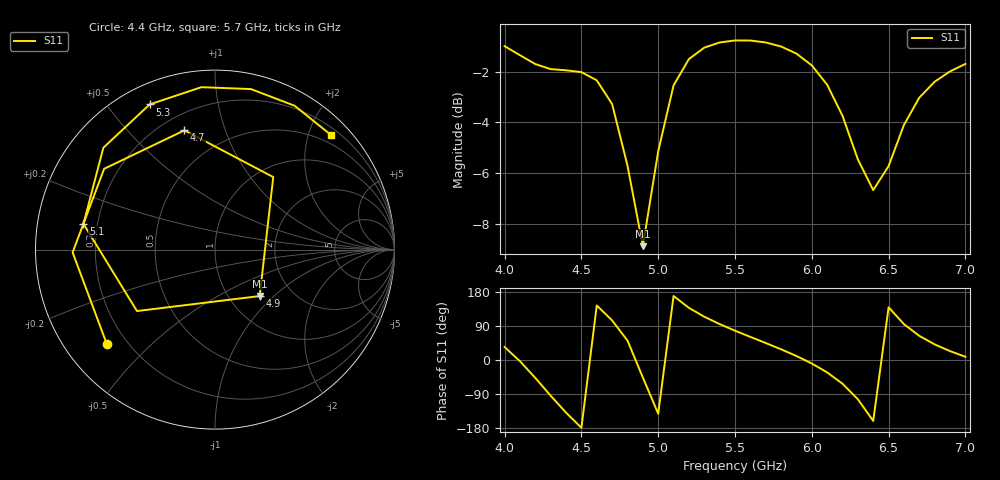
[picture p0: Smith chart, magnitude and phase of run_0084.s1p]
! Touchstone file exported from HFSS 2024.2.0
!  File:  C:/Users/wsak9/Desktop/Sim Fast/Widenad Patch/WP_AI_V1_sweep.aedt
!  Generated:  06:25:52 PM Oct 13, 2026
!  Design:  A1_model
!  Project:  WP_AI_V1_sweep
!  Setup:  Setup1
!  Solution:  Sweep
! Variables:
!  Air_gap = 3.09mm
!  Curve_Amp1 = 3.15
!  Curve_len1 = 1
!  Curve_pos = 12.085mm
!  Extra = 1.51mm
!  H_sub = 0.79mm
!  L_Patch = 20.17mm
!  L_Patch1 = 13.11mm
!  Sx = 4.5mm
!  Sy = 4.49mm
!  WS = 0.96mm
!  W_Patch = 13.98mm
!  W_Patch1 = 11.6mm
!Data is not renormalized
# GHz S MA
! Terminal data exported
! Port[1] = 1
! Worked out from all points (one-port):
!   31 points, 4 GHz to 7 GHz, reference per port
!   lowest |S11| = -8.9 dB at 4.9 GHz (marker M1), VSWR 2.12
!   |S11| at or under -10 dB: nowhere
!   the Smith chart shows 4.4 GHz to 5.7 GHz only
!   S11 on the Smith chart (normalised r, x): 4.4 GHz: 0.13, -0.37; 4.7 GHz: 0.29, +0.73; 4.9 GHz: 1.38, -0.82; 5.1 GHz: 0.15, +0.09; 5.3 GHz: 0.08, +0.64; 5.7 GHz: 0.33, +2.39
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4  0.8929 34.3
4.1  0.857 -3.3
4.2  0.8231 -47.3
4.3  0.8044 -94.3
4.4  0.8 -138.9
4.5  0.7934 -178.9
4.6  0.7643 143.9
4.7  0.686 104.4
4.8  0.5183 51.2
4.9  0.3591 -46.1
5  0.5534 -141.8
5.1  0.7468 168.9
5.2  0.8421 137.6
5.3  0.887 114.2
5.4  0.9082 94.8
5.5  0.9165 77.4
5.7  0.9082 44.8
5.9  0.8633 10.6
6  0.8182 -9.3
6.1  0.7492 -32.8
6.2  0.6503 -62.6
6.3  0.5331 -103.7
6.4  0.4636 -160.8
6.5  0.5171 139.1
6.6  0.6239 94.6
6.7  0.7064 63.7
6.8  0.7596 41.1
7  0.8236 8.6
